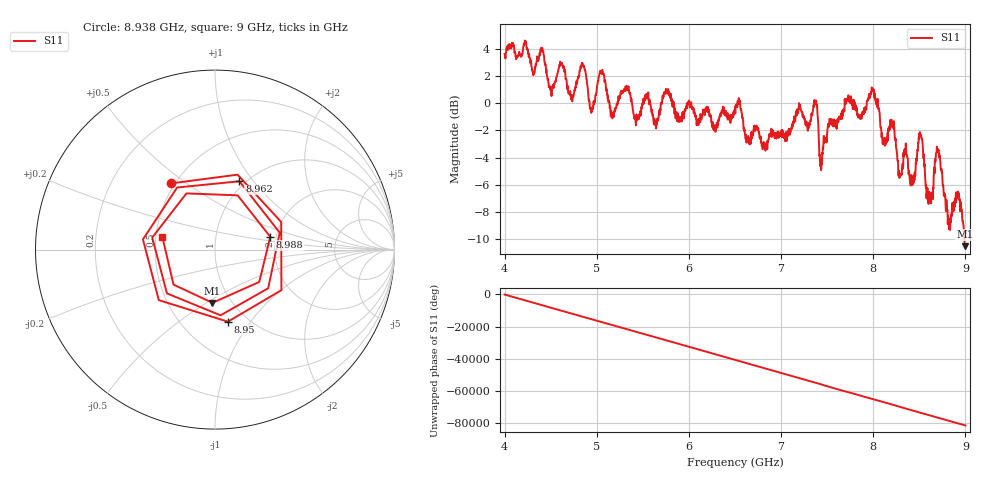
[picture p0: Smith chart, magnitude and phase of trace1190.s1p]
! Created with skrf 1.8.0 (http://scikit-rf.org).
# Hz S RI R 50.0
!freq ReS11 ImS11
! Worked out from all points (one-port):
!   1601 points, 4 GHz to 9 GHz, reference 50 ohm
!   lowest |S11| = -10.5 dB at 8.994 GHz (marker M1), VSWR 1.84, Z = 40.8 - j26.6 ohm
!   |S11| at or under -10 dB: 8.987925 GHz to end of sweep
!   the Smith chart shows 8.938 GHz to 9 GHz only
!   S11 on the Smith chart (normalised r, x): 8.938 GHz: 0.48, +0.44; 8.95 GHz: 0.82, -0.79; 8.962 GHz: 0.94, +0.85; 8.988 GHz: 1.86, +0.29; 9 GHz: 0.54, +0.08
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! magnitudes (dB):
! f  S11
! 4 GHz  3.7
! 4.625 GHz  2.8
! 4.728 GHz  0.3
! 4.856 GHz  2.7
! 4.938 GHz  -0.5
! 5.05 GHz  2.2
! 5.25 GHz  0.4
! 5.875 GHz  -1.0
! 6.5 GHz  -0.2
! 6.816 GHz  -3.1
! 7.125 GHz  -1.5
! 7.372 GHz  0.0
! 7.438 GHz  -4.8
! 7.75 GHz  0.5
! 7.997 GHz  1.0
! 8.112 GHz  -2.9
! 8.375 GHz  -4.0
! 8.431 GHz  -6.0
! 8.512 GHz  -2.3
! 8.603 GHz  -6.9
! 8.703 GHz  -3.4
! 8.812 GHz  -8.3
! 8.938 GHz  -7.1
! 8.95 GHz  -7.8
! 8.962 GHz  -7.9
! 8.988 GHz  -10.0
! 8.994 GHz  -10.5
! 9 GHz  -10.4
